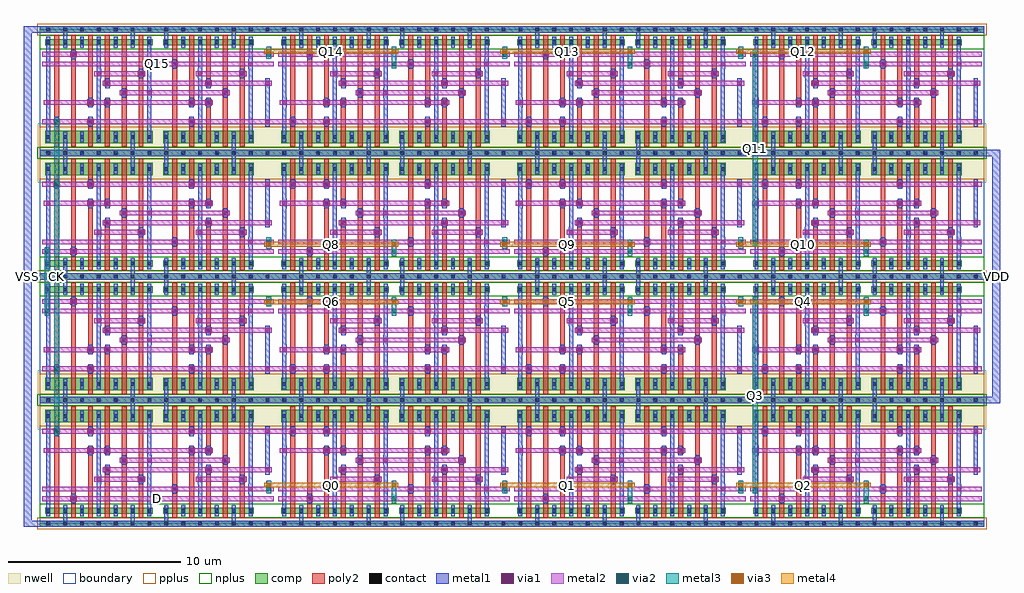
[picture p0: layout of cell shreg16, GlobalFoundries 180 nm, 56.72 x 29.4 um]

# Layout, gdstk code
import gdstk
lib = gdstk.Library(unit=1e-6, precision=1e-09)
def R(c, l, rs):  # rectangles x0, y0, x1, y1
    for r in rs: c.add(gdstk.rectangle(r[:2], r[2:], *l))
def A(c, l, x, y, w, h, nx, ny, dx, dy):  # array of equal rectangles
    R(c, l, [(x+i*dx, y+j*dy, x+i*dx+w, y+j*dy+h) for i in range(nx) for j in range(ny)])
boundary = (0, 0)
nwell = (21, 0)
comp = (22, 0)
poly2 = (30, 0)
pplus = (31, 0)
nplus = (32, 0)
contact = (33, 0)
metal1 = (34, 0)
via1 = (35, 0)
metal2 = (36, 0)
via2 = (38, 0)
via3 = (40, 0)
metal3 = (42, 0)
metal4 = (46, 0)

dff = lib.new_cell('dff')
R(dff, boundary, [(0,0,13.72,7.18)])
R(dff, nwell, [(-0.12,5.46,13.84,7.48)])
R(dff, comp, [(0,-0.18,13.72,0.18), (0.31,0.57,6.55,0.93), (7.17,0.57,12.43,0.93), (0.31,5.89,6.55,6.61), (7.17,5.89,12.43,6.61), (0,7,13.72,7.36)])
A(dff, poly2, 0.84, 0.35, 0.28, 0.8, 6, 1, 0.98, 0)
A(dff, poly2, 7.7, 0.35, 0.28, 0.8, 5, 1, 0.98, 0)
A(dff, poly2, 0.84, 5.67, 0.28, 1.16, 6, 1, 0.98, 0)
A(dff, poly2, 7.7, 5.67, 0.28, 1.16, 5, 1, 0.98, 0)
R(dff, poly2, [(0.84,1.15,1.12,5.67), (1.82,1.15,2.1,5.67), (2.8,1.15,3.08,4.25), (3.78,1.15,4.06,3.13), (4.76,1.15,5.04,5.67), (5.74,1.15,6.02,5.67), (7.7,1.15,7.98,5.67), (8.68,1.15,8.96,4.25), (9.66,1.15,9.94,3.13), (10.64,1.15,10.92,5.67), (11.62,1.15,11.9,5.67), (1.78,1.27,2.14,1.63), (7.66,1.83,8.02,2.19), (5.7,2.39,6.06,2.75), (11.58,2.39,11.94,2.75), (3.74,2.95,4.1,3.31), (9.62,2.95,9.98,3.31), (4.72,3.51,5.08,3.87), (10.6,3.51,10.96,3.87), (2.76,4.07,3.12,4.43), (3.74,4.07,4.1,4.43), (8.64,4.07,9,4.43), (9.62,4.07,9.98,4.43), (3.78,4.25,4.06,5.67), (9.66,4.25,9.94,5.67), (0.8,5.19,1.16,5.55), (2.76,5.19,3.12,5.55), (8.64,5.19,9,5.55), (2.8,5.37,3.08,5.67), (8.68,5.37,8.96,5.67)])
R(dff, pplus, [(-0.16,-0.34,13.88,0.34), (0,5.66,13.72,6.84)])
R(dff, nplus, [(0,0.34,13.72,1.16), (-0.16,6.84,13.88,7.52)])
A(dff, contact, 0.38, -0.11, 0.22, 0.22, 14, 2, 0.98, 7.18)
A(dff, contact, 0.38, 0.64, 0.22, 0.22, 13, 2, 0.98, 5.5)
R(dff, contact, [(1.85,1.34,2.07,1.56), (7.73,1.9,7.95,2.12), (5.77,2.46,5.99,2.68), (11.65,2.46,11.87,2.68), (3.81,3.02,4.03,3.24), (9.69,3.02,9.91,3.24), (4.79,3.58,5.01,3.8), (10.67,3.58,10.89,3.8), (2.83,4.14,3.05,4.36), (3.81,4.14,4.03,4.36), (8.71,4.14,8.93,4.36), (9.69,4.14,9.91,4.36), (0.87,5.26,1.09,5.48), (2.83,5.26,3.05,5.48), (8.71,5.26,8.93,5.48)])
A(dff, metal1, 0.375, 0.435, 0.23, 0.63, 13, 2, 0.98, 5.5)
R(dff, metal1, [(0,-0.18,13.72,0.18), (1.355,0,1.585,0.435), (5.275,0,5.505,0.435), (7.235,0,7.465,0.435), (11.155,0,11.385,0.435), (0.375,1.065,0.605,4.25), (3.315,1.065,3.545,2.57), (6.255,1.065,6.485,3.69), (9.195,1.065,9.425,2.57), (12.135,1.065,12.365,2.01), (1.83,1.17,2.09,1.73), (7.71,1.73,7.97,2.29), (12.12,1.73,12.38,2.29), (12.12,1.73,12.38,2.29), (12.135,2.01,12.365,5.935), (3.3,2.29,3.56,2.85), (3.3,2.29,3.56,2.85), (5.75,2.29,6.01,2.85), (9.18,2.29,9.44,2.85), (9.18,2.29,9.44,2.85), (11.63,2.29,11.89,2.85), (3.315,2.57,3.545,5.935), (9.195,2.57,9.425,5.935), (3.79,2.85,4.05,3.41), (9.67,2.85,9.93,3.41), (13.1,2.85,13.36,3.41), (13.1,3.13,13.36,5.37), (4.77,3.41,5.03,3.97), (6.24,3.41,6.5,3.97), (6.24,3.41,6.5,3.97), (10.65,3.41,10.91,3.97), (6.255,3.69,6.485,5.935), (0.36,3.97,0.62,4.53), (0.36,3.97,0.62,4.53), (2.81,3.97,3.07,4.53), (3.79,3.97,4.05,4.53), (8.69,3.97,8.95,4.53), (9.67,3.97,9.93,4.53), (0.375,4.25,0.605,5.935), (0.85,5.09,1.11,5.65), (2.81,5.09,3.07,5.65), (8.69,5.09,8.95,5.65), (13.1,5.09,13.36,5.65), (1.355,6.565,1.585,7.18), (5.275,6.565,5.505,7.18), (7.235,6.565,7.465,7.18), (11.155,6.565,11.385,7.18), (0,7,13.72,7.36)])
R(dff, via1, [(1.83,1.32,2.09,1.58), (7.71,1.88,7.97,2.14), (12.12,1.88,12.38,2.14), (12.12,1.88,12.38,2.14), (3.3,2.44,3.56,2.7), (3.3,2.44,3.56,2.7), (5.75,2.44,6.01,2.7), (9.18,2.44,9.44,2.7), (9.18,2.44,9.44,2.7), (11.63,2.44,11.89,2.7), (3.79,3,4.05,3.26), (9.67,3,9.93,3.26), (13.1,3,13.36,3.26), (4.77,3.56,5.03,3.82), (6.24,3.56,6.5,3.82), (6.24,3.56,6.5,3.82), (10.65,3.56,10.91,3.82), (0.36,4.12,0.62,4.38), (0.36,4.12,0.62,4.38), (2.81,4.12,3.07,4.38), (3.79,4.12,4.05,4.38), (8.69,4.12,8.95,4.38), (9.67,4.12,9.93,4.38), (0.85,5.24,1.11,5.5), (2.81,5.24,3.07,5.5), (8.69,5.24,8.95,5.5), (13.1,5.24,13.36,5.5)])
R(dff, metal2, [(0.14,1.31,13.58,1.59), (1.7,1.31,2.22,1.59), (0.14,1.87,13.58,2.15), (7.58,1.87,8.1,2.15), (11.99,1.87,12.51,2.15), (11.99,1.87,12.51,2.15), (3.17,2.43,3.69,2.71), (3.17,2.43,3.69,2.71), (3.43,2.43,5.88,2.71), (5.62,2.43,6.14,2.71), (9.05,2.43,9.57,2.71), (9.05,2.43,9.57,2.71), (9.31,2.43,11.76,2.71), (11.5,2.43,12.02,2.71), (3.66,2.99,4.18,3.27), (3.92,2.99,13.23,3.27), (9.54,2.99,10.06,3.27), (12.97,2.99,13.49,3.27), (4.64,3.55,5.16,3.83), (4.9,3.55,10.78,3.83), (6.11,3.55,6.63,3.83), (6.11,3.55,6.63,3.83), (10.52,3.55,11.04,3.83), (0.23,4.11,0.75,4.39), (0.23,4.11,0.75,4.39), (0.49,4.11,9.8,4.39), (2.68,4.11,3.2,4.39), (3.66,4.11,4.18,4.39), (8.56,4.11,9.08,4.39), (9.54,4.11,10.06,4.39), (0.14,5.23,13.58,5.51), (0.72,5.23,1.24,5.51), (2.68,5.23,3.2,5.51), (8.56,5.23,9.08,5.51), (12.97,5.23,13.49,5.51)])
dff.add(gdstk.Label('VSS', (6.86,0), layer=34, texttype=10))
dff.add(gdstk.Label('VDD', (6.86,7.18), layer=34, texttype=10))
dff.add(gdstk.Label('Q', (6.86,2.01), layer=36, texttype=10))
dff.add(gdstk.Label('CK', (6.86,5.37), layer=36, texttype=10))
dff.add(gdstk.Label('D', (6.86,1.45), layer=36, texttype=10))

shreg16 = lib.new_cell('shreg16')
A(shreg16, metal1, -0.92, -0.18, 0.92, 0.36, 1, 3, 0, 14.36)
R(shreg16, metal1, [(-0.92,-0.18,-0.46,28.9), (54.88,7,55.8,7.36), (55.34,7,55.8,21.72), (54.88,21.36,55.8,21.72)])
A(shreg16, metal2, 20.32, 1.31, 0.52, 0.28, 3, 2, 13.72, 10.9)
A(shreg16, metal2, 13.04, 1.87, 0.52, 0.28, 3, 2, 13.72, 10.9)
A(shreg16, metal2, 13.58, 5.23, 0.28, 0.28, 3, 2, 13.72, 3.62)
A(shreg16, metal2, 20.32, 15.67, 0.52, 0.28, 3, 2, 13.72, 10.9)
A(shreg16, metal2, 13.04, 16.23, 0.52, 0.28, 3, 2, 13.72, 10.9)
A(shreg16, metal2, 13.58, 19.59, 0.28, 0.28, 3, 2, 13.72, 3.62)
R(shreg16, metal2, [(41.32,1.87,41.84,2.15), (0.72,5.23,1.24,5.51), (0.72,8.85,1.24,9.13), (0.16,12.21,0.68,12.49), (41.32,12.77,41.84,13.05), (0.16,15.67,0.68,15.95), (41.32,16.23,41.84,16.51), (0.72,19.59,1.24,19.87), (0.72,23.21,1.24,23.49), (41.32,27.13,41.84,27.41)])
A(shreg16, via2, 20.45, 1.32, 0.26, 0.26, 3, 2, 13.72, 10.9)
A(shreg16, via2, 13.17, 1.88, 0.26, 0.26, 3, 2, 13.72, 10.9)
A(shreg16, via2, 20.45, 15.68, 0.26, 0.26, 3, 2, 13.72, 10.9)
A(shreg16, via2, 13.17, 16.24, 0.26, 0.26, 3, 2, 13.72, 10.9)
R(shreg16, via2, [(41.45,1.88,41.71,2.14), (0.85,5.24,1.11,5.5), (0.85,8.86,1.11,9.12), (0.29,12.22,0.55,12.48), (41.45,12.78,41.71,13.04), (0.29,15.68,0.55,15.94), (41.45,16.24,41.71,16.5), (0.85,19.6,1.11,19.86), (0.85,23.22,1.11,23.48), (41.45,27.14,41.71,27.4)])
R(shreg16, via3, [(13.17,2.11,13.43,2.37), (20.45,2.11,20.71,2.37), (26.89,2.11,27.15,2.37), (34.17,2.11,34.43,2.37), (40.61,2.11,40.87,2.37), (47.89,2.11,48.15,2.37), (13.17,12.75,13.43,13.01), (20.45,12.75,20.71,13.01), (26.89,12.75,27.15,13.01), (34.17,12.75,34.43,13.01), (40.61,12.75,40.87,13.01), (47.89,12.75,48.15,13.01), (13.17,16.11,13.43,16.37), (20.45,16.11,20.71,16.37), (26.89,16.11,27.15,16.37), (34.17,16.11,34.43,16.37), (40.61,16.11,40.87,16.37), (47.89,16.11,48.15,16.37), (13.17,27.31,13.43,27.57), (20.45,27.31,20.71,27.57), (26.89,27.31,27.15,27.57), (34.17,27.31,34.43,27.57), (40.61,27.31,40.87,27.57), (47.89,27.31,48.15,27.57)])
A(shreg16, metal3, 20.44, 1.19, 0.28, 0.52, 3, 2, 13.72, 10.9)
A(shreg16, metal3, 20.44, 1.45, 0.28, 0.79, 3, 1, 13.72, 0)
A(shreg16, metal3, 13.16, 1.75, 0.28, 0.52, 3, 2, 13.72, 10.9)
A(shreg16, metal3, 13.16, 2.01, 0.28, 0.23, 3, 1, 13.72, 0)
A(shreg16, metal3, 20.44, 12.35, 0.28, 0.53, 3, 1, 13.72, 0)
A(shreg16, metal3, 13.16, 12.88, 0.28, 0.03, 3, 1, 13.72, 0)
A(shreg16, metal3, 20.44, 15.55, 0.28, 0.52, 3, 2, 13.72, 10.9)
A(shreg16, metal3, 20.44, 15.81, 0.28, 0.43, 3, 1, 13.72, 0)
A(shreg16, metal3, 13.16, 16.11, 0.28, 0.52, 3, 2, 13.72, 10.9)
A(shreg16, metal3, 13.16, 16.24, 0.28, 0.13, 3, 1, 13.72, 0)
A(shreg16, metal3, 20.44, 26.71, 0.28, 0.73, 3, 1, 13.72, 0)
A(shreg16, metal3, 13.16, 27.27, 0.28, 0.17, 3, 1, 13.72, 0)
R(shreg16, metal3, [(41.44,1.75,41.72,2.27), (13.16,1.98,13.44,2.5), (20.44,1.98,20.72,2.5), (26.88,1.98,27.16,2.5), (34.16,1.98,34.44,2.5), (40.6,1.98,40.88,2.5), (47.88,1.98,48.16,2.5), (41.44,2.01,41.72,12.91), (0.84,5.11,1.12,5.63), (0.84,5.37,1.12,23.35), (0.84,8.73,1.12,9.25), (0.28,12.09,0.56,12.61), (0.28,12.35,0.56,15.81), (13.16,12.62,13.44,13.14), (20.44,12.62,20.72,13.14), (26.88,12.62,27.16,13.14), (34.16,12.62,34.44,13.14), (40.6,12.62,40.88,13.14), (47.88,12.62,48.16,13.14), (41.44,12.65,41.72,13.17), (0.28,15.55,0.56,16.07), (13.16,15.98,13.44,16.5), (20.44,15.98,20.72,16.5), (26.88,15.98,27.16,16.5), (34.16,15.98,34.44,16.5), (40.6,15.98,40.88,16.5), (47.88,15.98,48.16,16.5), (41.44,16.11,41.72,16.63), (41.44,16.37,41.72,27.27), (0.84,19.47,1.12,19.99), (0.84,23.09,1.12,23.61), (41.44,27.01,41.72,27.53), (13.16,27.18,13.44,27.7), (20.44,27.18,20.72,27.7), (26.88,27.18,27.16,27.7), (34.16,27.18,34.44,27.7), (40.6,27.18,40.88,27.7), (47.88,27.18,48.16,27.7)])
A(shreg16, metal4, 13.3, 2.1, 7.28, 0.28, 3, 2, 13.72, 10.64)
A(shreg16, metal4, 13.3, 16.1, 7.28, 0.28, 3, 2, 13.72, 11.2)
R(shreg16, metal4, [(13.04,2.1,13.56,2.38), (20.32,2.1,20.84,2.38), (26.76,2.1,27.28,2.38), (34.04,2.1,34.56,2.38), (40.48,2.1,41,2.38), (47.76,2.1,48.28,2.38), (13.04,12.74,13.56,13.02), (20.32,12.74,20.84,13.02), (26.76,12.74,27.28,13.02), (34.04,12.74,34.56,13.02), (40.48,12.74,41,13.02), (47.76,12.74,48.28,13.02), (13.04,16.1,13.56,16.38), (20.32,16.1,20.84,16.38), (26.76,16.1,27.28,16.38), (34.04,16.1,34.56,16.38), (40.48,16.1,41,16.38), (47.76,16.1,48.28,16.38), (13.04,27.3,13.56,27.58), (20.32,27.3,20.84,27.58), (26.76,27.3,27.28,27.58), (34.04,27.3,34.56,27.58), (40.48,27.3,41,27.58), (47.76,27.3,48.28,27.58)])
shreg16.add(gdstk.Reference(dff, (0,0)))
shreg16.add(gdstk.Reference(dff, (13.72,0)))
shreg16.add(gdstk.Reference(dff, (27.44,0)))
shreg16.add(gdstk.Reference(dff, (41.16,0)))
shreg16.add(gdstk.Reference(dff, (0,14.36), x_reflection=True))
shreg16.add(gdstk.Reference(dff, (13.72,14.36), x_reflection=True))
shreg16.add(gdstk.Reference(dff, (27.44,14.36), x_reflection=True))
shreg16.add(gdstk.Reference(dff, (41.16,14.36), x_reflection=True))
shreg16.add(gdstk.Reference(dff, (0,14.36)))
shreg16.add(gdstk.Reference(dff, (13.72,14.36)))
shreg16.add(gdstk.Reference(dff, (27.44,14.36)))
shreg16.add(gdstk.Reference(dff, (41.16,14.36)))
shreg16.add(gdstk.Reference(dff, (0,28.72), x_reflection=True))
shreg16.add(gdstk.Reference(dff, (13.72,28.72), x_reflection=True))
shreg16.add(gdstk.Reference(dff, (27.44,28.72), x_reflection=True))
shreg16.add(gdstk.Reference(dff, (41.16,28.72), x_reflection=True))
shreg16.add(gdstk.Label('VSS', (-0.69,14.36), layer=34, texttype=10))
shreg16.add(gdstk.Label('VDD', (55.57,14.36), layer=34, texttype=10))
shreg16.add(gdstk.Label('D', (6.86,1.45), layer=36, texttype=10))
shreg16.add(gdstk.Label('Q15', (6.86,26.71), layer=36, texttype=10))
shreg16.add(gdstk.Label('Q11', (41.58,21.82), layer=42, texttype=10))
shreg16.add(gdstk.Label('Q3', (41.58,7.46), layer=42, texttype=10))
shreg16.add(gdstk.Label('Q7', (0.42,14.08), layer=42, texttype=10))
shreg16.add(gdstk.Label('CK', (0.98,14.36), layer=42, texttype=10))
shreg16.add(gdstk.Label('Q0', (16.94,2.24), layer=46, texttype=10))
shreg16.add(gdstk.Label('Q1', (30.66,2.24), layer=46, texttype=10))
shreg16.add(gdstk.Label('Q10', (44.38,16.24), layer=46, texttype=10))
shreg16.add(gdstk.Label('Q12', (44.38,27.44), layer=46, texttype=10))
shreg16.add(gdstk.Label('Q13', (30.66,27.44), layer=46, texttype=10))
shreg16.add(gdstk.Label('Q14', (16.94,27.44), layer=46, texttype=10))
shreg16.add(gdstk.Label('Q2', (44.38,2.24), layer=46, texttype=10))
shreg16.add(gdstk.Label('Q4', (44.38,12.88), layer=46, texttype=10))
shreg16.add(gdstk.Label('Q5', (30.66,12.88), layer=46, texttype=10))
shreg16.add(gdstk.Label('Q6', (16.94,12.88), layer=46, texttype=10))
shreg16.add(gdstk.Label('Q8', (16.94,16.24), layer=46, texttype=10))
shreg16.add(gdstk.Label('Q9', (30.66,16.24), layer=46, texttype=10))

lib.write_gds('shreg16.gds')
